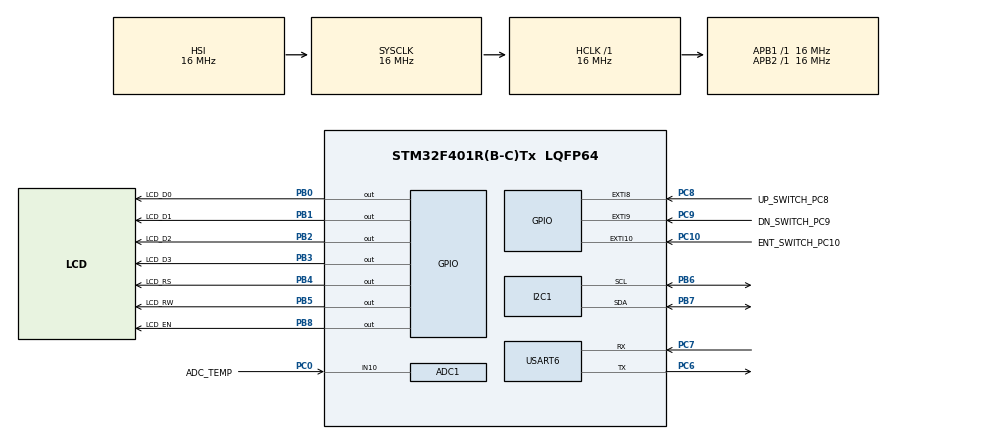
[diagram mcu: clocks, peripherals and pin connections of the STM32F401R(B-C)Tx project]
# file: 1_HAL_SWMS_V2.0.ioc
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ADC1.Channel-0\#ChannelRegularConversion=ADC_CHANNEL_10
ADC1.NbrOfConversionFlag=1
ADC1.Rank-0\#ChannelRegularConversion=1
ADC1.SamplingTime-0\#ChannelRegularConversion=ADC_SAMPLETIME_3CYCLES
ADC1.master=1
Mcu.Family=STM32F4
Mcu.Name=STM32F401R(B-C)Tx
Mcu.Package=LQFP64
NVIC.ADC_IRQn=true\:0\:0\:false\:false\:true\:true\:true\:true
NVIC.EXTI15_10_IRQn=true\:0\:0\:false\:false\:true\:true\:true\:true
NVIC.EXTI9_5_IRQn=true\:0\:0\:false\:false\:true\:true\:true\:true
NVIC.PriorityGroup=NVIC_PRIORITYGROUP_4
PA13.Mode=Serial_Wire
PA13.Signal=SYS_JTMS-SWDIO
PA14.Mode=Serial_Wire
PA14.Signal=SYS_JTCK-SWCLK
PB0.GPIO_Label=LCD_D0
PB0.Signal=GPIO_Output
PB1.GPIO_Label=LCD_D1
PB1.Signal=GPIO_Output
PB2.GPIO_Label=LCD_D2
PB2.Signal=GPIO_Output
PB3.GPIO_Label=LCD_D3
PB3.Signal=GPIO_Output
PB4.GPIO_Label=LCD_RS
PB4.Signal=GPIO_Output
PB5.GPIO_Label=LCD_RW
PB5.Signal=GPIO_Output
PB6.Mode=I2C
PB6.Signal=I2C1_SCL
PB7.Mode=I2C
PB7.Signal=I2C1_SDA
PB8.GPIO_Label=LCD_EN
PB8.Signal=GPIO_Output
PC0.GPIO_Label=ADC_TEMP
PC0.Signal=ADCx_IN10
PC10.GPIO_Label=ENT_SWITCH_PC10
PC10.GPIO_ModeDefaultEXTI=GPIO_MODE_IT_FALLING
PC10.GPIO_PuPd=GPIO_PULLUP
PC10.Signal=GPXTI10
PC6.Mode=Asynchronous
PC6.Signal=USART6_TX
PC7.Mode=Asynchronous
PC7.Signal=USART6_RX
PC8.GPIO_Label=UP_SWITCH_PC8
PC8.GPIO_ModeDefaultEXTI=GPIO_MODE_IT_FALLING
PC8.GPIO_PuPd=GPIO_PULLUP
PC8.Signal=GPXTI8
PC9.GPIO_Label=DN_SWITCH_PC9
PC9.GPIO_ModeDefaultEXTI=GPIO_MODE_IT_FALLING
PC9.GPIO_PuPd=GPIO_PULLUP
PC9.Signal=GPXTI9
ProjectManager.HeapSize=0x200
ProjectManager.StackSize=0x400
ProjectManager.TargetToolchain=STM32CubeIDE
RCC.AHBFreq_Value=16000000
RCC.APB1Freq_Value=16000000
RCC.APB2Freq_Value=16000000
RCC.CortexFreq_Value=16000000
RCC.HSE_VALUE=25000000
RCC.HSI_VALUE=16000000
RCC.LSE_VALUE=32768
RCC.SYSCLKFreq_VALUE=16000000
RCC.VCOOutputFreq_Value=192000000
SH.ADCx_IN10.0=ADC1_IN10,IN10
USART6.VirtualMode=VM_ASYNC
board=custom

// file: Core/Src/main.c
/* USER CODE BEGIN Header */
/**
  ******************************************************************************
  * @file           : main.c
  * @brief          : Main program body
  ******************************************************************************
  * @attention
  *
  * Copyright (c) 2026 STMicroelectronics.
  * All rights reserved.
  *
  * This software is licensed under terms that can be found in the LICENSE file
  * in the root directory of this software component.
  * If no LICENSE file comes with this software, it is provided AS-IS.
  *
  ******************************************************************************
  */
/* USER CODE END Header */
#include "main.h"

#include "LCD.h"
#include "WIFI.h"
#include "RTC.h"
#include "EEPROM.h"
#include "SET_TIME_AND_DATE.h"

ADC_HandleTypeDef hadc1;

I2C_HandleTypeDef hi2c1;

UART_HandleTypeDef huart6;

/* USER CODE BEGIN PV */
volatile int TEMP=0;
volatile int temp=0;
int LM_35=0;

int ERROR_WIFI;
int ret=0;

volatile int flag1=0;
volatile int flag2=0;
volatile int flag3=0;
volatile int ent_switch=0;

/* USER CODE END PV */

void SystemClock_Config(void);
static void MX_GPIO_Init(void);
static void MX_ADC1_Init(void);
static void MX_I2C1_Init(void);
static void MX_USART6_UART_Init(void);
/* USER CODE BEGIN PFP */

void TASK_1_READ_DATE_AND_TIME();
void TASK_2_READ_TEMP_VALUE();
void TASK_3_PUSH_TO_SERVER();
void TASK_4_EEPROM();
void Task5_SWMS_Config();
/* USER CODE END PFP */

int main(void)
{

  /* MCU Configuration--------------------------------------------------------*/

  /* Reset of all peripherals, Initializes the Flash interface and the Systick. */
  HAL_Init();

  /* Configure the system clock */
  SystemClock_Config();

  /* Initialize all configured peripherals */
  MX_GPIO_Init();
  MX_ADC1_Init();
  MX_I2C1_Init();
  MX_USART6_UART_Init();
  /* USER CODE BEGIN 2 */

  KM_LCD_INIT();
  KM_LCD_WRITE_CMD(0x01);               //CLEAR LCD SCREEN
        KM_LCD_WRITE_STR("WELCOME TO");
 			 KM_LCD_WRITE_CMD(0xC0);               //PRINTF SECOND LINE
        KM_LCD_WRITE_STR(" S W M W V2.O ");
 	   	 HAL_Delay(500);

/*  RTC_SetTimeDate(4, 1, 00,
                  5,
                  14, 8, 26);*/

/********************** DEVICE CHECKING *********************************************************/
		   //IS WIFI FOUND

							 ret=IS_WIFI_FOUND();
		           if(ret==WIFI_NOT_FOUND)//-1 == -1  //CONDITON TRUE
					  {
						 KM_LCD_WRITE_CMD(0x01);               //CLEAR LCD SCREEN
		                 KM_LCD_WRITE_STR("WIFI NOT FOUND");
						 KM_LCD_WRITE_CMD(0xC0);              //PRINT SECOND LINE
		                 KM_LCD_WRITE_STR("RESET BOARD");
						 ERROR_WIFI=1;
									 // while(1);
						  }
					 KM_LCD_WRITE_CMD(0x01);               //CLEAR LCD SCREEN
					 KM_LCD_WRITE_STR("AT OK");
					 KM_LCD_WRITE_CMD(0xC0);               //PRINTF SECOND LINE
		            KM_LCD_WRITE_STR("WIFI FOUND");
			   	    HAL_Delay(1000);

/************************* IS WIFI CONNECTED ************************************************************/

					     ret=IS_WIFI_CONNECTED();
						   if(ret==WIFI_CONNECTED)//0 == 0  //CONDITON TRUE
				       KM_LCD_WRITE_CMD(0x01);               //CLEAR LCD SCREEN
				     	 KM_LCD_WRITE_STR("WIFI CONNECTED");
							 	HAL_Delay(2000);
								 KM_LCD_WRITE_CMD(0x01);               //CLEAR LCD SCREEN

			 KM_LCD_WRITE_CMD(0x8E);
			 KM_LCD_WRITE_DATA(0xdf);       // Print custom degree symbol
			KM_LCD_WRITE_DATA('C');     // Print C

/**********************************************************************************************************/

  /* USER CODE END 2 */

  /* Infinite loop */
  while (1)
  {

    /* USER CODE BEGIN 3 */
	  HAL_ADC_Start_IT(&hadc1); //SWATART BIT ENABLE

	  TASK_1_READ_DATE_AND_TIME();

	  TASK_2_READ_TEMP_VALUE();

	  TASK_3_PUSH_TO_SERVER();

 		if(ERROR_WIFI==1) //ANY ERROR CASE WIFI
 		{
 			TASK_4_EEPROM();
 		}

 	   if(flag3==1)        //10TH BUTTON
		 {
	       Task5_SWMS_Config();     //EDIT TIME & DATE
		 }

  }
  /* USER CODE END 3 */
}

void SystemClock_Config(void)
{
  RCC_OscInitTypeDef RCC_OscInitStruct = {0};
  RCC_ClkInitTypeDef RCC_ClkInitStruct = {0};

  /** Configure the main internal regulator output voltage
  */
  __HAL_RCC_PWR_CLK_ENABLE();
  __HAL_PWR_VOLTAGESCALING_CONFIG(PWR_REGULATOR_VOLTAGE_SCALE2);

  /** Initializes the RCC Oscillators according to the specified parameters
  * in the RCC_OscInitTypeDef structure.
  */
  RCC_OscInitStruct.OscillatorType = RCC_OSCILLATORTYPE_HSI;
  RCC_OscInitStruct.HSIState = RCC_HSI_ON;
  RCC_OscInitStruct.HSICalibrationValue = RCC_HSICALIBRATION_DEFAULT;
  RCC_OscInitStruct.PLL.PLLState = RCC_PLL_NONE;
  if (HAL_RCC_OscConfig(&RCC_OscInitStruct) != HAL_OK)
  {
    Error_Handler();
  }

  /** Initializes the CPU, AHB and APB buses clocks
  */
  RCC_ClkInitStruct.ClockType = RCC_CLOCKTYPE_HCLK|RCC_CLOCKTYPE_SYSCLK
                              |RCC_CLOCKTYPE_PCLK1|RCC_CLOCKTYPE_PCLK2;
  RCC_ClkInitStruct.SYSCLKSource = RCC_SYSCLKSOURCE_HSI;
  RCC_ClkInitStruct.AHBCLKDivider = RCC_SYSCLK_DIV1;
  RCC_ClkInitStruct.APB1CLKDivider = RCC_HCLK_DIV1;
  RCC_ClkInitStruct.APB2CLKDivider = RCC_HCLK_DIV1;

  if (HAL_RCC_ClockConfig(&RCC_ClkInitStruct, FLASH_LATENCY_0) != HAL_OK)
  {
    Error_Handler();
  }
}

static void MX_ADC1_Init(void)
{

  ADC_ChannelConfTypeDef sConfig = {0};

  /** Configure the global features of the ADC (Clock, Resolution, Data Alignment and number of conversion)
  */
  hadc1.Instance = ADC1;
  hadc1.Init.ClockPrescaler = ADC_CLOCK_SYNC_PCLK_DIV2;
  hadc1.Init.Resolution = ADC_RESOLUTION_12B;
  hadc1.Init.ScanConvMode = DISABLE;
  hadc1.Init.ContinuousConvMode = DISABLE;
  hadc1.Init.DiscontinuousConvMode = DISABLE;
  hadc1.Init.ExternalTrigConvEdge = ADC_EXTERNALTRIGCONVEDGE_NONE;
  hadc1.Init.ExternalTrigConv = ADC_SOFTWARE_START;
  hadc1.Init.DataAlign = ADC_DATAALIGN_RIGHT;
  hadc1.Init.NbrOfConversion = 1;
  hadc1.Init.DMAContinuousRequests = DISABLE;
  hadc1.Init.EOCSelection = ADC_EOC_SINGLE_CONV;
  if (HAL_ADC_Init(&hadc1) != HAL_OK)
  {
    Error_Handler();
  }

  /** Configure for the selected ADC regular channel its corresponding rank in the sequencer and its sample time.
  */
  sConfig.Channel = ADC_CHANNEL_10;
  sConfig.Rank = 1;
  sConfig.SamplingTime = ADC_SAMPLETIME_3CYCLES;
  if (HAL_ADC_ConfigChannel(&hadc1, &sConfig) != HAL_OK)
  {
    Error_Handler();
  }

}

static void MX_I2C1_Init(void)
{

  hi2c1.Instance = I2C1;
  hi2c1.Init.ClockSpeed = 100000;
  hi2c1.Init.DutyCycle = I2C_DUTYCYCLE_2;
  hi2c1.Init.OwnAddress1 = 0;
  hi2c1.Init.AddressingMode = I2C_ADDRESSINGMODE_7BIT;
  hi2c1.Init.DualAddressMode = I2C_DUALADDRESS_DISABLE;
  hi2c1.Init.OwnAddress2 = 0;
  hi2c1.Init.GeneralCallMode = I2C_GENERALCALL_DISABLE;
  hi2c1.Init.NoStretchMode = I2C_NOSTRETCH_DISABLE;
  if (HAL_I2C_Init(&hi2c1) != HAL_OK)
  {
    Error_Handler();
  }

}

static void MX_USART6_UART_Init(void)
{

  huart6.Instance = USART6;
  huart6.Init.BaudRate = 115200;
  huart6.Init.WordLength = UART_WORDLENGTH_8B;
  huart6.Init.StopBits = UART_STOPBITS_1;
  huart6.Init.Parity = UART_PARITY_NONE;
  huart6.Init.Mode = UART_MODE_TX_RX;
  huart6.Init.HwFlowCtl = UART_HWCONTROL_NONE;
  huart6.Init.OverSampling = UART_OVERSAMPLING_16;
  if (HAL_UART_Init(&huart6) != HAL_OK)
  {
    Error_Handler();
  }

}

static void MX_GPIO_Init(void)
{
  GPIO_InitTypeDef GPIO_InitStruct = {0};

  /* GPIO Ports Clock Enable */
  __HAL_RCC_GPIOC_CLK_ENABLE();
  __HAL_RCC_GPIOB_CLK_ENABLE();
  __HAL_RCC_GPIOA_CLK_ENABLE();

  /*Configure GPIO pin Output Level */
  HAL_GPIO_WritePin(GPIOB, LCD_D0_Pin|LCD_D1_Pin|LCD_D2_Pin|LCD_D3_Pin
                          |LCD_RS_Pin|LCD_RW_Pin|LCD_EN_Pin, GPIO_PIN_RESET);

  /*Configure GPIO pins : LCD_D0_Pin LCD_D1_Pin LCD_D2_Pin LCD_D3_Pin
                           LCD_RS_Pin LCD_RW_Pin LCD_EN_Pin */
  GPIO_InitStruct.Pin = LCD_D0_Pin|LCD_D1_Pin|LCD_D2_Pin|LCD_D3_Pin
                          |LCD_RS_Pin|LCD_RW_Pin|LCD_EN_Pin;
  GPIO_InitStruct.Mode = GPIO_MODE_OUTPUT_PP;
  GPIO_InitStruct.Pull = GPIO_NOPULL;
  GPIO_InitStruct.Speed = GPIO_SPEED_FREQ_LOW;
  HAL_GPIO_Init(GPIOB, &GPIO_InitStruct);

  /*Configure GPIO pins : UP_SWITCH_PC8_Pin DN_SWITCH_PC9_Pin ENT_SWITCH_PC10_Pin */
  GPIO_InitStruct.Pin = UP_SWITCH_PC8_Pin|DN_SWITCH_PC9_Pin|ENT_SWITCH_PC10_Pin;
  GPIO_InitStruct.Mode = GPIO_MODE_IT_FALLING;
  GPIO_InitStruct.Pull = GPIO_PULLUP;
  HAL_GPIO_Init(GPIOC, &GPIO_InitStruct);

  /* EXTI interrupt init*/
  HAL_NVIC_SetPriority(EXTI9_5_IRQn, 0, 0);
  HAL_NVIC_EnableIRQ(EXTI9_5_IRQn);

  HAL_NVIC_SetPriority(EXTI15_10_IRQn, 0, 0);
  HAL_NVIC_EnableIRQ(EXTI15_10_IRQn);

}

/* USER CODE BEGIN 4 */

void TASK_1_READ_DATE_AND_TIME()
{
	  RTC_Read();
}
void TASK_2_READ_TEMP_VALUE()
{
	  if(LM_35==1)
			  {
			  			TEMP=(temp*0.08);

			  			KM_LCD_WRITE_CMD(0x8C);
			  			KM_ITOA_STR(TEMP);
			  			LM_35=0;
			  }
}
void TASK_3_PUSH_TO_SERVER()
{
	 KM_WIFI_OPERATION();
	     KM_WIFI_PUSH_SERVER();
}
void TASK_4_EEPROM()
{
	  KM_LCD_WRITE_CMD(0xCA);               //CLEAR LCD SCREEN
		        KM_LCD_WRITE_STR("EP");

		        EEPROM_Write_RTC_Temperature();
		          ERROR_WIFI=0;
}
void Task5_SWMS_Config()
{
	RTC_Read();
	 ent_switch=0;
    RTC_CONFIG();
}

void HAL_ADC_ConvCpltCallback (ADC_HandleTypeDef *hadc)
{
	temp=HAL_ADC_GetValue(&hadc1);
	LM_35=1;

}

void HAL_GPIO_EXTI_Callback(uint16_t GPIO_Pin)
{

	if(GPIO_Pin==UP_SWITCH_PC8_Pin)
	{
		flag1=1;
	}

	else if(GPIO_Pin==DN_SWITCH_PC9_Pin)
	{
		flag2=1;
	}

	else if(GPIO_Pin==ENT_SWITCH_PC10_Pin)
	{
		flag3=1;
		ent_switch++;
	}

}

/* USER CODE END 4 */

void Error_Handler(void)
{
  __disable_irq();
  while (1)
  {
  }
}
